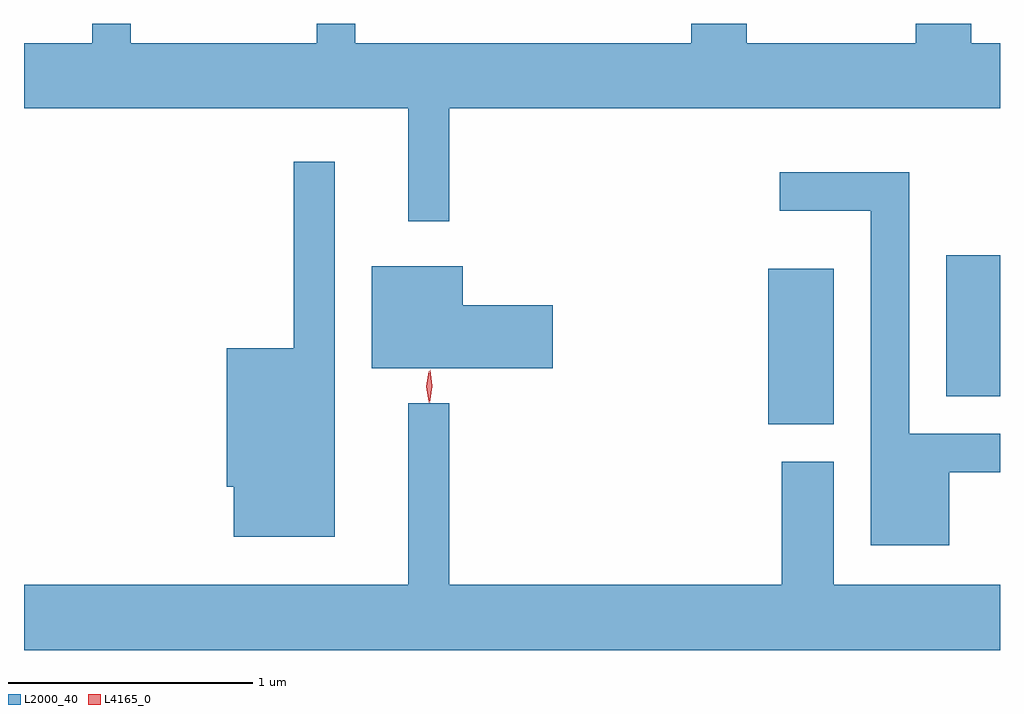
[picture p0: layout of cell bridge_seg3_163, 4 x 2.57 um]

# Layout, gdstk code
import gdstk
lib = gdstk.Library(unit=1e-6, precision=1e-09)
def R(c, l, rs):  # rectangles x0, y0, x1, y1
    for r in rs: c.add(gdstk.rectangle(r[:2], r[2:], *l))
def P(c, l, *ps):  # polygons
    for p in ps: c.add(gdstk.Polygon(p, *l))
L2000_40 = (2000, 40)
L4165_0 = (4165, 0)

bridge_seg3_163 = lib.new_cell('bridge_seg3_163')
R(bridge_seg3_163, L2000_40, [(826.136,1204.641,826.404,1205.279), (826.866,1204.756,827.086,1205.334)])
P(bridge_seg3_163, L2000_40, [(824.829,1205.936),(827.086,1205.936),(827.086,1206.204),(826.969,1206.204),(826.969,1206.283),(826.741,1206.283),(826.741,1206.204),(826.049,1206.204),(826.049,1206.283),(825.821,1206.283),(825.821,1206.204),(824.444,1206.204),(824.444,1206.283),(824.286,1206.283),(824.286,1206.204),(823.524,1206.204),(823.524,1206.283),(823.366,1206.283),(823.366,1206.204),(823.086,1206.204),(823.086,1205.936),(824.661,1205.936),(824.661,1205.473),(824.829,1205.473)],
  [(824.359,1205.718),(824.191,1205.718),(824.191,1204.954),(823.916,1204.954),(823.916,1204.386),(823.946,1204.386),(823.946,1204.181),(824.359,1204.181)],
  [(826.879,1204.446),(827.086,1204.446),(827.086,1204.604),(826.714,1204.604),(826.714,1205.674),(826.183,1205.674),(826.183,1205.516),(826.556,1205.516),(826.556,1204.146),(826.879,1204.146)],
  [(825.254,1205.129),(824.884,1205.129),(824.884,1205.289),(824.511,1205.289),(824.511,1204.871),(825.254,1204.871)],
  [(827.086,1203.984),(826.404,1203.984),(826.404,1204.489),(826.191,1204.489),(826.191,1203.984),(824.829,1203.984),(824.829,1204.728),(824.661,1204.728),(824.661,1203.984),(823.086,1203.984),(823.086,1203.716),(827.086,1203.716)])
P(bridge_seg3_163, L4165_0, [(824.748,1204.73),(824.739,1204.798),(824.75,1204.866),(824.75,1204.866),(824.751,1204.866),(824.759,1204.798),(824.749,1204.73),(824.749,1204.73)],
  [(824.744,1204.733),(824.744,1204.734),(824.734,1204.796),(824.744,1204.86),(824.744,1204.86),(824.745,1204.86),(824.754,1204.796),(824.745,1204.734)])

lib.write_gds('bridge_seg3_163.gds')
